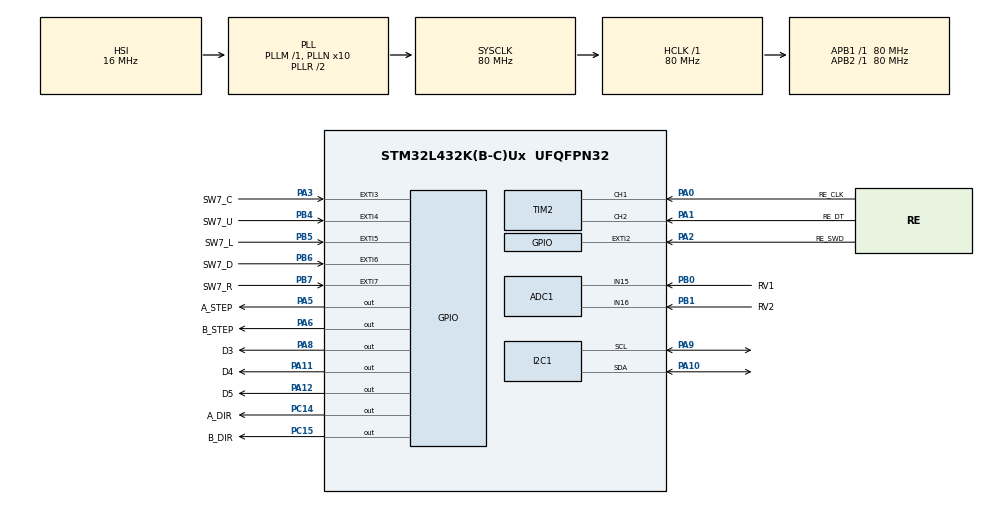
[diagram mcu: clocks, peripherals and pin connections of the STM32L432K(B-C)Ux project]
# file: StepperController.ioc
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Mcu.Family=STM32L4
PA2.GPIO_PuPd=GPIO_PULLUP
RCC.CortexFreq_Value=80000000
NVIC.I2C1_EV_IRQn=true\:0\:0\:false\:false\:true\:true\:true
ADC1.ContinuousConvMode=ENABLE
NVIC.TIM6_DAC_IRQn=true\:0\:0\:false\:false\:true\:true\:true
PA3.GPIO_PuPd=GPIO_PULLUP
PB6.GPIO_ModeDefaultEXTI=GPIO_MODE_IT_FALLING
PA0.GPIO_Label=RE_CLK
NVIC.EXTI3_IRQn=true\:0\:0\:false\:false\:true\:true\:true
PA6.GPIO_Label=B_STEP
PB0.GPIO_Label=RV1
PB6.GPIO_Label=SW7_D
PB7.GPIO_ModeDefaultEXTI=GPIO_MODE_IT_FALLING
RCC.SYSCLKSource=RCC_SYSCLKSOURCE_PLLCLK
ProjectManager.StackSize=0x400
SH.ADCx_IN16.0=ADC1_IN16,IN16-Single-Ended
PA12.Signal=GPIO_Output
TIM1.Prescaler=40000
PB4\ (NJTRST).GPIO_ModeDefaultEXTI=GPIO_MODE_IT_FALLING
ADC1.Channel-3\#ChannelRegularConversion=ADC_CHANNEL_16
RCC.HCLKFreq_Value=80000000
RCC.APB2TimFreq_Value=80000000
PB6.Signal=GPXTI6
Dma.ADC1.0.Direction=DMA_PERIPH_TO_MEMORY
ADC1.Channel-2\#ChannelRegularConversion=ADC_CHANNEL_15
Dma.ADC1.0.MemDataAlignment=DMA_MDATAALIGN_WORD
RCC.AHBFreq_Value=80000000
RCC.HSE_VALUE=8000000
SH.ADCx_IN15.0=ADC1_IN15,IN15-Single-Ended
ADC1.Rank-2\#ChannelRegularConversion=1
PB1.GPIO_Label=RV2
Dma.ADC1.0.PeriphInc=DMA_PINC_DISABLE
PB7.Signal=GPXTI7
PA8.Signal=GPIO_Output
TIM6.Period=80
NVIC.I2C1_ER_IRQn=true\:0\:0\:false\:false\:true\:true\:true
VP_TIM1_VS_ClockSourceINT.Mode=Internal
PA0.Signal=S_TIM2_CH1
PB7.GPIO_Label=SW7_R
Mcu.Package=UFQFPN32
PA6.Signal=GPIO_Output
PB1.Signal=ADCx_IN16
PA2.GPIO_Label=RE_SWD
PA10.Signal=I2C1_SDA
PB5.GPIO_Label=SW7_L
NVIC.EXTI2_IRQn=true\:0\:0\:false\:false\:true\:true\:true
RCC.APB1TimFreq_Value=80000000
TIM1.Period=50
I2C1.CustomTiming=Disabled
Dma.Request0=ADC1
ADC1.EOCSelection=ADC_EOC_SEQ_CONV
RCC.HSI48_VALUE=48000000
PA3.Signal=GPXTI3
PB5.GPIO_ModeDefaultEXTI=GPIO_MODE_IT_FALLING
RCC.MSI_VALUE=4000000
PB7.GPIO_PuPd=GPIO_PULLUP
RCC.PLLSourceVirtual=RCC_PLLSOURCE_HSI
NVIC.EXTI4_IRQn=true\:0\:0\:false\:false\:true\:true\:true
SH.S_TIM2_CH1.0=TIM2_CH1,Encoder_Interface
Dma.ADC1.0.Instance=DMA1_Channel1
PC15-OSC32_OUT\ (PC15).GPIO_Label=B_DIR
PA10.Mode=I2C
TIM2.IC1Filter=10
PB6.GPIO_PuPd=GPIO_PULLUP
ADC1.OffsetNumber-3\#ChannelRegularConversion=ADC_OFFSET_NONE
VP_TIM6_VS_ClockSourceINT.Mode=Enable_Timer
PA11.GPIO_Label=D4
PC15-OSC32_OUT\ (PC15).Signal=GPIO_Output
PA12.GPIO_Label=D5
ADC1.SamplingTime-2\#ChannelRegularConversion=ADC_SAMPLETIME_92CYCLES_5
TIM1.ClockDivision=TIM_CLOCKDIVISION_DIV2
PC14-OSC32_IN\ (PC14).GPIO_Label=A_DIR
PA3.GPIO_ModeDefaultEXTI=GPIO_MODE_IT_FALLING
TIM6.AutoReloadPreload=TIM_AUTORELOAD_PRELOAD_ENABLE
SH.S_TIM2_CH2.0=TIM2_CH2,Encoder_Interface
Dma.ADC1.0.PeriphDataAlignment=DMA_PDATAALIGN_WORD
PA9.Mode=I2C
PA8.GPIO_Label=D3
ProjectManager.TargetToolchain=STM32CubeIDE
Dma.ADC1.0.Mode=DMA_CIRCULAR
Dma.ADC1.0.Priority=DMA_PRIORITY_LOW
PA9.Signal=I2C1_SCL
I2C1.Timing=0x10909CEC
RCC.USBFreq_Value=64000000
RCC.LSE_VALUE=32768
PA1.Signal=S_TIM2_CH2
PA5.Signal=GPIO_Output
NVIC.TIM1_TRG_COM_IRQn=true\:0\:0\:false\:false\:true\:true\:true
NVIC.TIM1_BRK_TIM15_IRQn=true\:0\:0\:false\:false\:true\:true\:true
board=custom
RCC.VCOOutputFreq_Value=160000000
RCC.APB2Freq_Value=80000000
RCC.ADCFreq_Value=64000000
PA1.GPIO_Label=RE_DT
ADC1.DMAContinuousRequests=ENABLE
ADC1.NbrOfConversion=2
ADC1.OffsetNumber-2\#ChannelRegularConversion=ADC_OFFSET_NONE
Mcu.Name=STM32L432K(B-C)Ux
PA2.Signal=GPXTI2
NVIC.TIM1_CC_IRQn=true\:0\:0\:false\:false\:true\:true\:true
RCC.SYSCLKFreq_VALUE=80000000
PB5.Signal=GPXTI5
ADC1.master=1
PA5.GPIO_Label=A_STEP
ADC1.Rank-3\#ChannelRegularConversion=2
ADC1.SamplingTime-3\#ChannelRegularConversion=ADC_SAMPLETIME_92CYCLES_5
PC14-OSC32_IN\ (PC14).Signal=GPIO_Output
PB5.GPIO_PuPd=GPIO_PULLUP
PA11.Signal=GPIO_Output
NVIC.EXTI9_5_IRQn=true\:0\:0\:false\:false\:true\:true\:true
Dma.ADC1.0.MemInc=DMA_MINC_ENABLE
ProjectManager.HeapSize=0x200
RCC.HSI_VALUE=16000000
PA2.GPIO_ModeDefaultEXTI=GPIO_MODE_IT_FALLING
NVIC.TIM1_UP_TIM16_IRQn=true\:0\:0\:false\:false\:true\:true\:true
NVIC.PriorityGroup=NVIC_PRIORITYGROUP_4
ADC1.NbrOfConversionFlag=1
RCC.PLLN=10
ADC1.EnableRegularConversion=ENABLE
TIM2.AutoReloadPreload=TIM_AUTORELOAD_PRELOAD_ENABLE
PB4\ (NJTRST).GPIO_Label=SW7_U
RCC.APB1Freq_Value=80000000
PB0.Signal=ADCx_IN15
PB4\ (NJTRST).GPIO_PuPd=GPIO_PULLUP
ADC1.ClockPrescaler=ADC_CLOCK_ASYNC_DIV8
TIM2.IC2Filter=10
PA3.GPIO_Label=SW7_C
PB4\ (NJTRST).Signal=GPXTI4

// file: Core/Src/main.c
/* USER CODE BEGIN Header */
/**
  ******************************************************************************
  * @file           : main.c
  * @brief          : Main program body
  ******************************************************************************
  * @attention
  *
  * <h2><center>&copy; Copyright (c) 2021 STMicroelectronics.
  * All rights reserved.</center></h2>
  *
  * This software component is licensed by ST under BSD 3-Clause license,
  * the "License"; You may not use this file except in compliance with the
  * License. You may obtain a copy of the License at:
  *                        opensource.org/licenses/BSD-3-Clause
  *
  ******************************************************************************
  */
/* USER CODE END Header */
#include "main.h"

/* USER CODE BEGIN Includes */
#include "ssd1306_tests.h"
#include "ssd1306.h"
#include "stdio.h"
#include "stepper.h"
/* USER CODE END Includes */

/* USER CODE BEGIN PD */
#define adcrv1 adcvalue[0]
#define adcrv2 adcvalue[1]
#define enc (TIM2->CNT << 5)
/* USER CODE END PD */

ADC_HandleTypeDef hadc1;
DMA_HandleTypeDef hdma_adc1;

I2C_HandleTypeDef hi2c1;

TIM_HandleTypeDef htim1;
TIM_HandleTypeDef htim2;
TIM_HandleTypeDef htim6;

/* USER CODE BEGIN PV */
volatile int debounce = 1;
uint32_t adcvalue[2];
char rv1array[10];
char rv2array[10];
char encarray[10];

/* USER CODE END PV */

void SystemClock_Config(void);
static void MX_GPIO_Init(void);
static void MX_DMA_Init(void);
static void MX_I2C1_Init(void);
static void MX_TIM2_Init(void);
static void MX_TIM1_Init(void);
static void MX_ADC1_Init(void);
static void MX_TIM6_Init(void);

int main(void)
{

  /* MCU Configuration--------------------------------------------------------*/

  /* Reset of all peripherals, Initializes the Flash interface and the Systick. */
  HAL_Init();

  /* Configure the system clock */
  SystemClock_Config();

  /* Initialize all configured peripherals */
  MX_GPIO_Init();
  MX_DMA_Init();
  MX_I2C1_Init();
  MX_TIM2_Init();
  MX_TIM1_Init();
  MX_ADC1_Init();
  MX_TIM6_Init();
  /* USER CODE BEGIN 2 */

  ssd1306_Init();
  HAL_ADC_Start_DMA(&hadc1, (uint32_t*)adcvalue, 2);
  HAL_TIM_Encoder_Start(&htim2, TIM_CHANNEL_ALL);

  steppersArray[0].direction = 1;
  steppersArray[0].steps = 3200;
  steppersArray[0].STEPGPIOPORT = A_STEP_GPIO_Port;
  steppersArray[0].STEPGPIOPIN = A_STEP_Pin;
  steppersArray[0].DIRGPIOPORT = A_DIR_GPIO_Port;
  steppersArray[0].DIRGPIOPIN = A_DIR_Pin;

  steppersArray[1].direction = 1;
  steppersArray[1].steps = 800;
  steppersArray[1].STEPGPIOPORT = B_STEP_GPIO_Port;
  steppersArray[1].STEPGPIOPIN = B_STEP_Pin;
  steppersArray[1].DIRGPIOPORT = B_DIR_GPIO_Port;
  steppersArray[1].DIRGPIOPIN = B_DIR_Pin;

  /* USER CODE END 2 */

  /* Infinite loop */
  while (1)
  {

    /* USER CODE BEGIN 3 */

	  ssd1306_Fill(Black);
	  ssd1306_SetCursor(0, 0);
	  sprintf(rv1array, "%hu\r\n", (int)adcrv1);
	  ssd1306_WriteString(rv1array, Font_11x18, White);

	  ssd1306_SetCursor(0, 15);
	  sprintf(rv2array, "%hu\r\n", (int)adcrv2);
	  ssd1306_WriteString(rv2array, Font_11x18, White);

	  ssd1306_SetCursor(0, 30);
	  sprintf(encarray, "%i\r\n", (int)enc);
	  ssd1306_WriteString(encarray, Font_11x18, White);

	  ssd1306_UpdateScreen();

  }
  /* USER CODE END 3 */
}

void SystemClock_Config(void)
{
  RCC_OscInitTypeDef RCC_OscInitStruct = {0};
  RCC_ClkInitTypeDef RCC_ClkInitStruct = {0};
  RCC_PeriphCLKInitTypeDef PeriphClkInit = {0};

  /** Initializes the RCC Oscillators according to the specified parameters
  * in the RCC_OscInitTypeDef structure.
  */
  RCC_OscInitStruct.OscillatorType = RCC_OSCILLATORTYPE_HSI;
  RCC_OscInitStruct.HSIState = RCC_HSI_ON;
  RCC_OscInitStruct.HSICalibrationValue = RCC_HSICALIBRATION_DEFAULT;
  RCC_OscInitStruct.PLL.PLLState = RCC_PLL_ON;
  RCC_OscInitStruct.PLL.PLLSource = RCC_PLLSOURCE_HSI;
  RCC_OscInitStruct.PLL.PLLM = 1;
  RCC_OscInitStruct.PLL.PLLN = 10;
  RCC_OscInitStruct.PLL.PLLP = RCC_PLLP_DIV7;
  RCC_OscInitStruct.PLL.PLLQ = RCC_PLLQ_DIV2;
  RCC_OscInitStruct.PLL.PLLR = RCC_PLLR_DIV2;
  if (HAL_RCC_OscConfig(&RCC_OscInitStruct) != HAL_OK)
  {
    Error_Handler();
  }
  /** Initializes the CPU, AHB and APB buses clocks
  */
  RCC_ClkInitStruct.ClockType = RCC_CLOCKTYPE_HCLK|RCC_CLOCKTYPE_SYSCLK
                              |RCC_CLOCKTYPE_PCLK1|RCC_CLOCKTYPE_PCLK2;
  RCC_ClkInitStruct.SYSCLKSource = RCC_SYSCLKSOURCE_PLLCLK;
  RCC_ClkInitStruct.AHBCLKDivider = RCC_SYSCLK_DIV1;
  RCC_ClkInitStruct.APB1CLKDivider = RCC_HCLK_DIV1;
  RCC_ClkInitStruct.APB2CLKDivider = RCC_HCLK_DIV1;

  if (HAL_RCC_ClockConfig(&RCC_ClkInitStruct, FLASH_LATENCY_4) != HAL_OK)
  {
    Error_Handler();
  }
  PeriphClkInit.PeriphClockSelection = RCC_PERIPHCLK_I2C1|RCC_PERIPHCLK_ADC;
  PeriphClkInit.I2c1ClockSelection = RCC_I2C1CLKSOURCE_PCLK1;
  PeriphClkInit.AdcClockSelection = RCC_ADCCLKSOURCE_PLLSAI1;
  PeriphClkInit.PLLSAI1.PLLSAI1Source = RCC_PLLSOURCE_HSI;
  PeriphClkInit.PLLSAI1.PLLSAI1M = 1;
  PeriphClkInit.PLLSAI1.PLLSAI1N = 8;
  PeriphClkInit.PLLSAI1.PLLSAI1P = RCC_PLLP_DIV7;
  PeriphClkInit.PLLSAI1.PLLSAI1Q = RCC_PLLQ_DIV2;
  PeriphClkInit.PLLSAI1.PLLSAI1R = RCC_PLLR_DIV2;
  PeriphClkInit.PLLSAI1.PLLSAI1ClockOut = RCC_PLLSAI1_ADC1CLK;
  if (HAL_RCCEx_PeriphCLKConfig(&PeriphClkInit) != HAL_OK)
  {
    Error_Handler();
  }
  /** Configure the main internal regulator output voltage
  */
  if (HAL_PWREx_ControlVoltageScaling(PWR_REGULATOR_VOLTAGE_SCALE1) != HAL_OK)
  {
    Error_Handler();
  }
}

static void MX_ADC1_Init(void)
{

  ADC_ChannelConfTypeDef sConfig = {0};

  /** Common config
  */
  hadc1.Instance = ADC1;
  hadc1.Init.ClockPrescaler = ADC_CLOCK_ASYNC_DIV8;
  hadc1.Init.Resolution = ADC_RESOLUTION_12B;
  hadc1.Init.DataAlign = ADC_DATAALIGN_RIGHT;
  hadc1.Init.ScanConvMode = ADC_SCAN_ENABLE;
  hadc1.Init.EOCSelection = ADC_EOC_SEQ_CONV;
  hadc1.Init.LowPowerAutoWait = DISABLE;
  hadc1.Init.ContinuousConvMode = ENABLE;
  hadc1.Init.NbrOfConversion = 2;
  hadc1.Init.DiscontinuousConvMode = DISABLE;
  hadc1.Init.ExternalTrigConv = ADC_SOFTWARE_START;
  hadc1.Init.ExternalTrigConvEdge = ADC_EXTERNALTRIGCONVEDGE_NONE;
  hadc1.Init.DMAContinuousRequests = ENABLE;
  hadc1.Init.Overrun = ADC_OVR_DATA_PRESERVED;
  hadc1.Init.OversamplingMode = DISABLE;
  if (HAL_ADC_Init(&hadc1) != HAL_OK)
  {
    Error_Handler();
  }
  /** Configure Regular Channel
  */
  sConfig.Channel = ADC_CHANNEL_15;
  sConfig.Rank = ADC_REGULAR_RANK_1;
  sConfig.SamplingTime = ADC_SAMPLETIME_92CYCLES_5;
  sConfig.SingleDiff = ADC_SINGLE_ENDED;
  sConfig.OffsetNumber = ADC_OFFSET_NONE;
  sConfig.Offset = 0;
  if (HAL_ADC_ConfigChannel(&hadc1, &sConfig) != HAL_OK)
  {
    Error_Handler();
  }
  /** Configure Regular Channel
  */
  sConfig.Channel = ADC_CHANNEL_16;
  sConfig.Rank = ADC_REGULAR_RANK_2;
  if (HAL_ADC_ConfigChannel(&hadc1, &sConfig) != HAL_OK)
  {
    Error_Handler();
  }

}

static void MX_I2C1_Init(void)
{

  hi2c1.Instance = I2C1;
  hi2c1.Init.Timing = 0x10909CEC;
  hi2c1.Init.OwnAddress1 = 0;
  hi2c1.Init.AddressingMode = I2C_ADDRESSINGMODE_7BIT;
  hi2c1.Init.DualAddressMode = I2C_DUALADDRESS_DISABLE;
  hi2c1.Init.OwnAddress2 = 0;
  hi2c1.Init.OwnAddress2Masks = I2C_OA2_NOMASK;
  hi2c1.Init.GeneralCallMode = I2C_GENERALCALL_DISABLE;
  hi2c1.Init.NoStretchMode = I2C_NOSTRETCH_DISABLE;
  if (HAL_I2C_Init(&hi2c1) != HAL_OK)
  {
    Error_Handler();
  }
  /** Configure Analogue filter
  */
  if (HAL_I2CEx_ConfigAnalogFilter(&hi2c1, I2C_ANALOGFILTER_ENABLE) != HAL_OK)
  {
    Error_Handler();
  }
  /** Configure Digital filter
  */
  if (HAL_I2CEx_ConfigDigitalFilter(&hi2c1, 0) != HAL_OK)
  {
    Error_Handler();
  }

}

static void MX_TIM1_Init(void)
{

  TIM_ClockConfigTypeDef sClockSourceConfig = {0};
  TIM_MasterConfigTypeDef sMasterConfig = {0};

  htim1.Instance = TIM1;
  htim1.Init.Prescaler = 40000;
  htim1.Init.CounterMode = TIM_COUNTERMODE_UP;
  htim1.Init.Period = 50;
  htim1.Init.ClockDivision = TIM_CLOCKDIVISION_DIV2;
  htim1.Init.RepetitionCounter = 0;
  htim1.Init.AutoReloadPreload = TIM_AUTORELOAD_PRELOAD_DISABLE;
  if (HAL_TIM_Base_Init(&htim1) != HAL_OK)
  {
    Error_Handler();
  }
  sClockSourceConfig.ClockSource = TIM_CLOCKSOURCE_INTERNAL;
  if (HAL_TIM_ConfigClockSource(&htim1, &sClockSourceConfig) != HAL_OK)
  {
    Error_Handler();
  }
  sMasterConfig.MasterOutputTrigger = TIM_TRGO_RESET;
  sMasterConfig.MasterOutputTrigger2 = TIM_TRGO2_RESET;
  sMasterConfig.MasterSlaveMode = TIM_MASTERSLAVEMODE_DISABLE;
  if (HAL_TIMEx_MasterConfigSynchronization(&htim1, &sMasterConfig) != HAL_OK)
  {
    Error_Handler();
  }

}

static void MX_TIM2_Init(void)
{

  TIM_Encoder_InitTypeDef sConfig = {0};
  TIM_MasterConfigTypeDef sMasterConfig = {0};

  htim2.Instance = TIM2;
  htim2.Init.Prescaler = 0;
  htim2.Init.CounterMode = TIM_COUNTERMODE_UP;
  htim2.Init.Period = 4294967295;
  htim2.Init.ClockDivision = TIM_CLOCKDIVISION_DIV1;
  htim2.Init.AutoReloadPreload = TIM_AUTORELOAD_PRELOAD_ENABLE;
  sConfig.EncoderMode = TIM_ENCODERMODE_TI1;
  sConfig.IC1Polarity = TIM_ICPOLARITY_RISING;
  sConfig.IC1Selection = TIM_ICSELECTION_DIRECTTI;
  sConfig.IC1Prescaler = TIM_ICPSC_DIV1;
  sConfig.IC1Filter = 10;
  sConfig.IC2Polarity = TIM_ICPOLARITY_RISING;
  sConfig.IC2Selection = TIM_ICSELECTION_DIRECTTI;
  sConfig.IC2Prescaler = TIM_ICPSC_DIV1;
  sConfig.IC2Filter = 10;
  if (HAL_TIM_Encoder_Init(&htim2, &sConfig) != HAL_OK)
  {
    Error_Handler();
  }
  sMasterConfig.MasterOutputTrigger = TIM_TRGO_RESET;
  sMasterConfig.MasterSlaveMode = TIM_MASTERSLAVEMODE_DISABLE;
  if (HAL_TIMEx_MasterConfigSynchronization(&htim2, &sMasterConfig) != HAL_OK)
  {
    Error_Handler();
  }

}

static void MX_TIM6_Init(void)
{

  TIM_MasterConfigTypeDef sMasterConfig = {0};

  htim6.Instance = TIM6;
  htim6.Init.Prescaler = 0;
  htim6.Init.CounterMode = TIM_COUNTERMODE_UP;
  htim6.Init.Period = 80;
  htim6.Init.AutoReloadPreload = TIM_AUTORELOAD_PRELOAD_ENABLE;
  if (HAL_TIM_Base_Init(&htim6) != HAL_OK)
  {
    Error_Handler();
  }
  sMasterConfig.MasterOutputTrigger = TIM_TRGO_RESET;
  sMasterConfig.MasterSlaveMode = TIM_MASTERSLAVEMODE_DISABLE;
  if (HAL_TIMEx_MasterConfigSynchronization(&htim6, &sMasterConfig) != HAL_OK)
  {
    Error_Handler();
  }

}

static void MX_DMA_Init(void)
{

  /* DMA controller clock enable */
  __HAL_RCC_DMA1_CLK_ENABLE();

}

static void MX_GPIO_Init(void)
{
  GPIO_InitTypeDef GPIO_InitStruct = {0};

  /* GPIO Ports Clock Enable */
  __HAL_RCC_GPIOC_CLK_ENABLE();
  __HAL_RCC_GPIOA_CLK_ENABLE();
  __HAL_RCC_GPIOB_CLK_ENABLE();

  /*Configure GPIO pin Output Level */
  HAL_GPIO_WritePin(GPIOC, A_DIR_Pin|B_DIR_Pin, GPIO_PIN_RESET);

  /*Configure GPIO pin Output Level */
  HAL_GPIO_WritePin(GPIOA, A_STEP_Pin|B_STEP_Pin|D3_Pin|D4_Pin
                          |D5_Pin, GPIO_PIN_RESET);

  /*Configure GPIO pins : A_DIR_Pin B_DIR_Pin */
  GPIO_InitStruct.Pin = A_DIR_Pin|B_DIR_Pin;
  GPIO_InitStruct.Mode = GPIO_MODE_OUTPUT_PP;
  GPIO_InitStruct.Pull = GPIO_NOPULL;
  GPIO_InitStruct.Speed = GPIO_SPEED_FREQ_LOW;
  HAL_GPIO_Init(GPIOC, &GPIO_InitStruct);

  /*Configure GPIO pins : RE_SWD_Pin SW7_C_Pin */
  GPIO_InitStruct.Pin = RE_SWD_Pin|SW7_C_Pin;
  GPIO_InitStruct.Mode = GPIO_MODE_IT_FALLING;
  GPIO_InitStruct.Pull = GPIO_PULLUP;
  HAL_GPIO_Init(GPIOA, &GPIO_InitStruct);

  /*Configure GPIO pins : A_STEP_Pin B_STEP_Pin D3_Pin D4_Pin
                           D5_Pin */
  GPIO_InitStruct.Pin = A_STEP_Pin|B_STEP_Pin|D3_Pin|D4_Pin
                          |D5_Pin;
  GPIO_InitStruct.Mode = GPIO_MODE_OUTPUT_PP;
  GPIO_InitStruct.Pull = GPIO_NOPULL;
  GPIO_InitStruct.Speed = GPIO_SPEED_FREQ_LOW;
  HAL_GPIO_Init(GPIOA, &GPIO_InitStruct);

  /*Configure GPIO pins : SW7_U_Pin SW7_L_Pin SW7_D_Pin SW7_R_Pin */
  GPIO_InitStruct.Pin = SW7_U_Pin|SW7_L_Pin|SW7_D_Pin|SW7_R_Pin;
  GPIO_InitStruct.Mode = GPIO_MODE_IT_FALLING;
  GPIO_InitStruct.Pull = GPIO_PULLUP;
  HAL_GPIO_Init(GPIOB, &GPIO_InitStruct);

  /* EXTI interrupt init*/
  HAL_NVIC_SetPriority(EXTI2_IRQn, 0, 0);
  HAL_NVIC_EnableIRQ(EXTI2_IRQn);

  HAL_NVIC_SetPriority(EXTI3_IRQn, 0, 0);
  HAL_NVIC_EnableIRQ(EXTI3_IRQn);

  HAL_NVIC_SetPriority(EXTI4_IRQn, 0, 0);
  HAL_NVIC_EnableIRQ(EXTI4_IRQn);

  HAL_NVIC_SetPriority(EXTI9_5_IRQn, 0, 0);
  HAL_NVIC_EnableIRQ(EXTI9_5_IRQn);

}

/* USER CODE BEGIN 4 */
void HAL_GPIO_EXTI_Callback(uint16_t GPIO_Pin) {
	if ((GPIO_Pin == RE_SWD_Pin||GPIO_Pin == SW7_U_Pin||GPIO_Pin == SW7_D_Pin||GPIO_Pin == SW7_L_Pin||GPIO_Pin == SW7_R_Pin||GPIO_Pin == SW7_C_Pin) && debounce == 1) {
		HAL_TIM_Base_Start_IT(&htim1);
		debounce = 0;

	} else {
		__NOP();
	}
}

void HAL_TIM_PeriodElapsedCallback(TIM_HandleTypeDef *htim)
{

  	//CODE FOR DEBOUNCED BUTTONS
	if (htim == &htim1) {
		if(HAL_GPIO_ReadPin(RE_SWD_GPIO_Port, RE_SWD_Pin) == GPIO_PIN_RESET)	{
			debounce = 1;
			HAL_TIM_Base_Stop_IT(&htim1);
		}
		if (HAL_GPIO_ReadPin(SW7_U_GPIO_Port, SW7_U_Pin) == GPIO_PIN_RESET)		{
			debounce = 1;
			HAL_TIM_Base_Stop_IT(&htim1);
		}
		if (HAL_GPIO_ReadPin(SW7_D_GPIO_Port, SW7_D_Pin) == GPIO_PIN_RESET) 	{
			debounce = 1;
			HAL_TIM_Base_Stop_IT(&htim1);
		}
		if (HAL_GPIO_ReadPin(SW7_L_GPIO_Port, SW7_L_Pin) == GPIO_PIN_RESET) 	{
			debounce = 1;
			HAL_TIM_Base_Stop_IT(&htim1);
		}
		if (HAL_GPIO_ReadPin(SW7_R_GPIO_Port, SW7_R_Pin) == GPIO_PIN_RESET) 	{
			debounce = 1;
			HAL_TIM_Base_Stop_IT(&htim1);
		}
		if (HAL_GPIO_ReadPin(SW7_C_GPIO_Port, SW7_C_Pin) == GPIO_PIN_RESET) 	{
			moveSteppers_micro_sync(adcrv1);
			HAL_TIM_Base_Start_IT(&htim6);
			debounce = 1;
			HAL_TIM_Base_Stop_IT(&htim1);
		}
	}

	//CODE FOR RUNNING STEPPERS
	if (htim == &htim6) {
		steppersDone = 0;
		for (int i = 0; i < arraylength; ++i) {
			if (steppersArray[i].counter < steppersArray[i].required_delay) {
				++steppersArray[i].counter;
			} else {
				if (steppersArray[i].current_step < steppersArray[i].steps) {
					HAL_GPIO_WritePin(steppersArray[i].STEPGPIOPORT, steppersArray[i].STEPGPIOPIN, SET);
					HAL_GPIO_WritePin(steppersArray[i].STEPGPIOPORT, steppersArray[i].STEPGPIOPIN, RESET);
					++steppersArray[i].current_step;
					steppersArray[i].counter = 0;
					if (steppersArray[i].current_step < steppersArray[i].steps / 2) {
						steppersArray[i].required_delay = steppersArray[i].required_delay - 2*steppersArray[i].required_delay/(4*steppersArray[i].current_step+1);
					} else {
						steppersArray[i].required_delay = steppersArray[i].required_delay - 2*steppersArray[i].required_delay/(4*(steppersArray[i].current_step-steppersArray[i].steps)+1);
					}
				} else {
					++steppersDone;
				}
				if (steppersDone == arraylength) {
					HAL_TIM_Base_Stop_IT(&htim6);
				}
			}
		}
	}
}

/* USER CODE END 4 */

void Error_Handler(void)
{
  __disable_irq();
  while (1)
  {
  }
}

/************************ (C) COPYRIGHT STMicroelectronics *****END OF FILE****/
